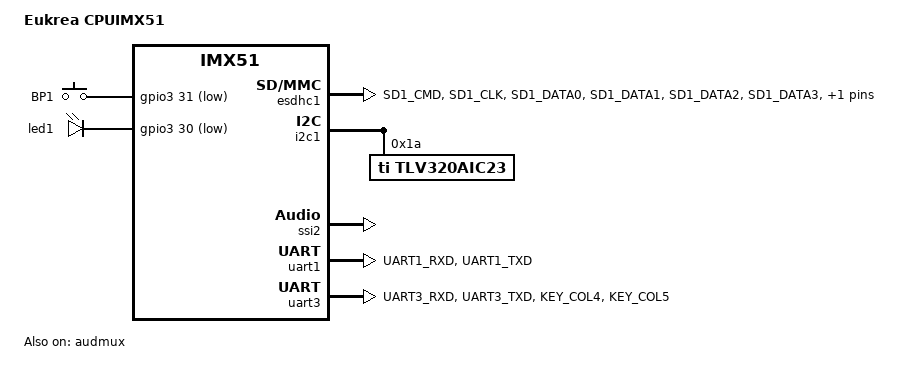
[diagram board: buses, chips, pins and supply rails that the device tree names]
/*
 * Copyright 2013 Eukréa Electromatique <denis@eukrea.com>
 *
 * This program is free software; you can redistribute it and/or
 * modify it under the terms of the GNU General Public License
 * as published by the Free Software Foundation; either version 2
 * of the License, or (at your option) any later version.
 * This program is distributed in the hope that it will be useful,
 * but WITHOUT ANY WARRANTY; without even the implied warranty of
 * MERCHANTABILITY or FITNESS FOR A PARTICULAR PURPOSE.  See the
 * GNU General Public License for more details.
 *
 * You should have received a copy of the GNU General Public License
 * along with this program; if not, write to the Free Software
 * Foundation, Inc., 51 Franklin Street, Fifth Floor, Boston,
 * MA 02110-1301, USA.
 */

/dts-v1/;
#include "imx51-eukrea-cpuimx51.dtsi"
#include <dt-bindings/gpio/gpio.h>

/ {
	model = "Eukrea CPUIMX51";
	compatible = "eukrea,mbimxsd51","eukrea,cpuimx51", "fsl,imx51";

	gpio_keys {
		compatible = "gpio-keys";
		pinctrl-names = "default";
		pinctrl-0 = <&pinctrl_gpiokeys_1>;

		button-1 {
			label = "BP1";
			gpios = <&gpio3 31 GPIO_ACTIVE_LOW>;
			linux,code = <256>;
			gpio-key,wakeup;
			linux,input-type = <1>;
		};
	};

	leds {
		compatible = "gpio-leds";
		pinctrl-names = "default";
		pinctrl-0 = <&pinctrl_gpioled>;

		led1 {
			label = "led1";
			gpios = <&gpio3 30 GPIO_ACTIVE_LOW>;
			linux,default-trigger = "heartbeat";
		};
	};

	sound {
		compatible = "eukrea,asoc-tlv320";
		eukrea,model = "imx51-eukrea-tlv320aic23";
		ssi-controller = <&ssi2>;
		fsl,mux-int-port = <2>;
		fsl,mux-ext-port = <3>;
	};
};

&audmux {
	pinctrl-names = "default";
	pinctrl-0 = <&pinctrl_audmux>;
	status = "okay";
};

&esdhc1 {
	pinctrl-names = "default";
	pinctrl-0 = <&pinctrl_esdhc1 &pinctrl_esdhc1_cd>;
	fsl,cd-controller;
	status = "okay";
};

&i2c1 {
	tlv320aic23: codec@1a {
		compatible = "ti,tlv320aic23";
		reg = <0x1a>;
	};
};

&iomuxc {
	imx51-eukrea {
		pinctrl_audmux: audmuxgrp {
			fsl,pins = <
				MX51_PAD_AUD3_BB_TXD__AUD3_TXD		0x80000000
				MX51_PAD_AUD3_BB_RXD__AUD3_RXD		0x80000000
				MX51_PAD_AUD3_BB_CK__AUD3_TXC		0x80000000
				MX51_PAD_AUD3_BB_FS__AUD3_TXFS		0x80000000
			>;
		};

		pinctrl_esdhc1: esdhc1grp {
			fsl,pins = <
				MX51_PAD_SD1_CMD__SD1_CMD		0x400020d5
				MX51_PAD_SD1_CLK__SD1_CLK		0x20d5
				MX51_PAD_SD1_DATA0__SD1_DATA0		0x20d5
				MX51_PAD_SD1_DATA1__SD1_DATA1		0x20d5
				MX51_PAD_SD1_DATA2__SD1_DATA2		0x20d5
				MX51_PAD_SD1_DATA3__SD1_DATA3		0x20d5
			>;
		};

		pinctrl_uart1: uart1grp {
			fsl,pins = <
				MX51_PAD_UART1_RXD__UART1_RXD		0x1c5
				MX51_PAD_UART1_TXD__UART1_TXD		0x1c5
			>;
		};

		pinctrl_uart3: uart3grp {
			fsl,pins = <
				MX51_PAD_UART3_RXD__UART3_RXD		0x1c5
				MX51_PAD_UART3_TXD__UART3_TXD		0x1c5
			>;
		};

		pinctrl_uart3_rtscts: uart3rtsctsgrp {
			fsl,pins = <
				MX51_PAD_KEY_COL4__UART3_RTS		0x1c5
				MX51_PAD_KEY_COL5__UART3_CTS		0x1c5
			>;
		};

		pinctrl_backlight_1: backlightgrp-1 {
			fsl,pins = <
				MX51_PAD_DI1_D1_CS__GPIO3_4 0x1f5
			>;
		};

		pinctrl_esdhc1_cd: esdhc1_cd {
			fsl,pins = <
				MX51_PAD_GPIO1_0__SD1_CD 0x20d5
			>;
		};

		pinctrl_gpiokeys_1: gpiokeysgrp-1 {
			fsl,pins = <
				MX51_PAD_NANDF_D9__GPIO3_31 0x1f5
			>;
		};

		pinctrl_gpioled: gpioledgrp-1 {
			fsl,pins = <
				MX51_PAD_NANDF_D10__GPIO3_30 0x80000000
			>;
		};

		pinctrl_reg_lcd_3v3: reg_lcd_3v3 {
			fsl,pins = <
				MX51_PAD_CSI1_D9__GPIO3_13 0x1f5
			>;
		};
	};
};

&ssi2 {
	codec-handle = <&tlv320aic23>;
	fsl,mode = "i2s-slave";
	status = "okay";
};

&uart1 {
	pinctrl-names = "default";
	pinctrl-0 = <&pinctrl_uart1>;
	fsl,uart-has-rtscts;
	status = "okay";
};

&uart3 {
	pinctrl-names = "default";
	pinctrl-0 = <&pinctrl_uart3 &pinctrl_uart3_rtscts>;
	fsl,uart-has-rtscts;
	status = "okay";
};
